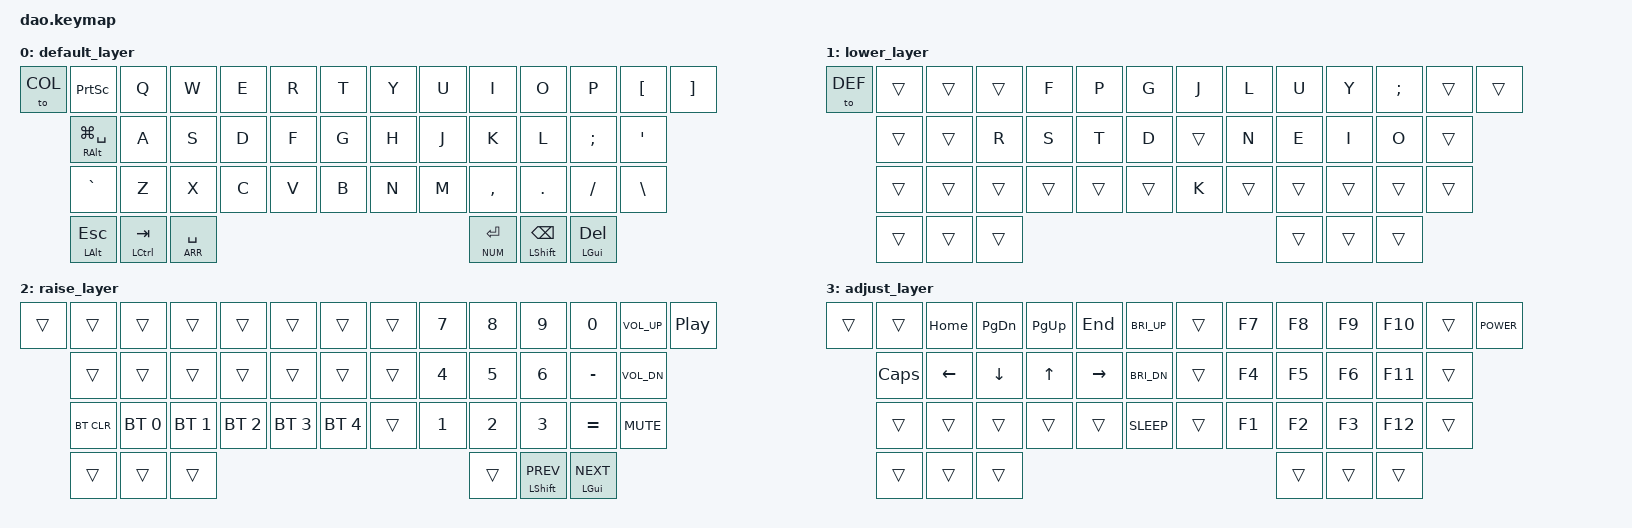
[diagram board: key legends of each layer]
/*
 * Copyright (c) 2021 Rafael Yumagulov
 *
 * SPDX-License-Identifier: MIT
 */

#include <behaviors.dtsi>
#include <dt-bindings/zmk/keys.h>
#include <dt-bindings/zmk/bt.h>

#define DEF 0
#define COL 1
#define NUM 2
#define ARR 3

&lt { quick_tap_ms = <200>; };
&mt { quick_tap_ms = <200>; };

/ {
        keymap {
                compatible = "zmk,keymap";

                default_layer {
// -----------------------------------------------------------------------------------------
// |  GUI |   ~  |  Q  |  W  |  E  |  R  |  T  |   |  Y  |  U   |  I  |  O  |  P  |  [   | GUI/] |
//        | CTRL |  A  |  S  |  D  |  F  |  G  |   |  H  |  J   |  K  |  L  |  ;  |CTRL/'|
//        | LALT |  Z  |  X  |  C  |  V  |  B  |   |  N  |  M   |  ,  |  .  |  /  | RALT |
//                           | RSE | SPC | LWR |   | LWR | BKSP | RSE |
                        bindings = <
   &to COL &kp PRINTSCREEN    &kp Q &kp W &kp E &kp R &kp T         &kp Y &kp U &kp I     &kp O   &kp P    &kp LBKT &kp RBKT
           &mt RALT LG(SPACE) &kp A &kp S &kp D &kp F &kp G         &kp H &kp J &kp K     &kp L   &kp SEMI &kp SQT
           &kp GRAVE          &kp Z &kp X &kp C &kp V &kp B         &kp N &kp M &kp COMMA &kp DOT &kp FSLH &kp BSLH
                   &mt LALT ESC &mt LCTRL TAB &lt ARR SPACE         &lt NUM RET &mt LSHFT BSPC &mt LGUI DEL
                        >;
                };
                lower_layer {
// -----------------------------------------------------------------------------------------
// |     |  _  |  F1 |  F2 |  F3 |  F4 |  F5 |   |  F6 |  F7 |  F8 |  F9 | F10 | F11 | F12 |
//       |  +  |  !  |  @  |  #  |  $  |  %  |   |  ^  |  &  |  *  |  (  |  )  |  -  |
//       |  =  |  1  |  2  |  3  |  4  |  5  |   |  6  |  7  |  8  |  9  |  0  |     |
//                    | GUI |     | SPC |   | ENT |     | ALT |
                        bindings = <
   &to DEF &trans &trans &trans &kp F  &kp P  &kp G          &kp J  &kp L  &kp U  &kp Y  &kp SEMI  &trans &trans
           &trans &trans &kp R  &kp S  &kp T  &kp D          &trans &kp N  &kp E  &kp I  &kp O  &trans
           &trans &trans &trans &trans &trans &trans         &kp K  &trans &trans &trans &trans &trans
                                &trans &trans &trans         &trans &trans &trans
                        >;
                };

                raise_layer {
// -----------------------------------------------------------------------------------------
// |     | NMLK |  /  |  7  |  8  |  9  |  -  |   | VOLU| HOME| PRSC| PGUP| SCLK| CLCK|     |
//       | CTRL |  *  |  4  |  5  |  6  |  +  |   | MUT | LEFT|  UP | RGHT| INS | APP |
//       |      |  0  |  1  |  2  |  3  |  .  |   | VOLD| END | DOWN| PGDN| PAUS|     |
//                          |     |     | ADJ |   | ADJ |     |     |
                        bindings = <
   &trans &trans     &trans       &trans       &trans       &trans       &trans               &trans &kp N7 &kp N8 &kp N9 &kp N0    &kp C_VOL_UP &kp C_PLAY_PAUSE
          &trans     &trans       &trans       &trans       &trans       &trans               &trans &kp N4 &kp N5 &kp N6 &kp MINUS &kp C_VOL_DN
          &bt BT_CLR &bt BT_SEL 0 &bt BT_SEL 1 &bt BT_SEL 2 &bt BT_SEL 3 &bt BT_SEL 4         &trans &kp N1 &kp N2 &kp N3 &kp EQUAL &kp C_MUTE
                                                                 &trans &trans &trans         &trans &mt LSHFT C_PREV &mt LGUI C_NEXT
                        >;
                };
                adjust_layer {
// -----------------------------------------------------------------------------------------
// | RST | BLDR |     |     |     |     |     |   |     |     |     |     |     | BLDR | RST |
//       | BTCLR| BT0 | BT1 | BT2 | BT3 | BT4 |   | BT4 | BT3 | BT2 | BT1 | BT0 | BTCLR|
//       |      |     |     |     |     |     |   |     |     |     |     |     |      |
//                          |     |     |     |   |     |     |     |
                        bindings = <
   &trans &trans   &kp HOME &kp PG_DN &kp PG_UP &kp END   &kp C_BRI_UP         &trans &kp F7 &kp F8 &kp F9 &kp F10 &trans &kp C_POWER
          &kp CAPS &kp LEFT &kp DOWN  &kp UP    &kp RIGHT &kp C_BRI_DN         &trans &kp F4 &kp F5 &kp F6 &kp F11 &trans
          &trans   &trans   &trans    &trans    &trans    &kp C_SLEEP          &trans &kp F1 &kp F2 &kp F3 &kp F12 &trans
                                                  &trans &trans &trans         &trans &trans &trans
                        >;
                };
        };
};
